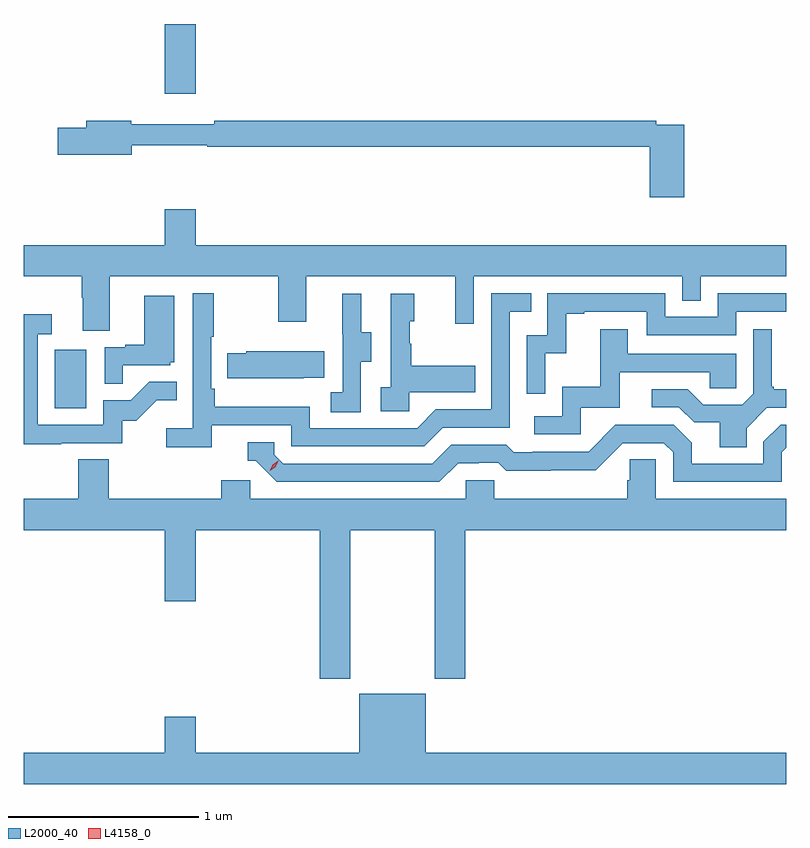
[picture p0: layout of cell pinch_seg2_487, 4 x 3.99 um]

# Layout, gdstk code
import gdstk
lib = gdstk.Library(unit=1e-6, precision=1e-09)
def R(c, l, rs):  # rectangles x0, y0, x1, y1
    for r in rs: c.add(gdstk.rectangle(r[:2], r[2:], *l))
def P(c, l, *ps):  # polygons
    for p in ps: c.add(gdstk.Polygon(p, *l))
L2000_40 = (2000, 40)
L4158_0 = (4158, 0)

pinch_seg2_487 = lib.new_cell('pinch_seg2_487')
R(pinch_seg2_487, L2000_40, [(967.628,597.66,967.792,597.967), (968.204,599.31,968.368,599.676)])
P(pinch_seg2_487, L2000_40, [(970.931,599.148),(970.784,599.148),(970.784,599.168),(968.464,599.168),(968.464,599.149),(968.028,599.149),(968.028,599.168),(967.793,599.168),(967.793,599.132),(967.644,599.132),(967.644,598.99),(968.032,598.99),(968.032,599.04),(968.428,599.04),(968.428,599.032),(970.748,599.032),(970.748,598.767),(970.931,598.767)],
  [(967.915,598.352),(968.8,598.352),(968.8,598.113),(968.947,598.113),(968.947,598.352),(969.728,598.352),(969.728,598.104),(969.825,598.104),(969.825,598.352),(970.92,598.352),(970.92,598.225),(971.016,598.225),(971.016,598.352),(971.465,598.352),(971.465,598.516),(968.368,598.516),(968.368,598.705),(968.204,598.705),(968.204,598.516),(967.465,598.516),(967.465,598.352),(967.768,598.352),(967.768,598.24),(967.775,598.24),(967.775,598.066),(967.915,598.066)],
  [(968.45,597.57),(968.868,597.57),(968.868,597.459),(969.565,597.459),(969.664,597.558),(970.014,597.558),(970.014,598.167),(970.127,598.167),(970.127,598.263),(969.918,598.263),(969.918,597.654),(969.627,597.654),(969.528,597.555),(968.964,597.555),(968.964,597.667),(968.468,597.667),(968.468,597.763),(968.448,597.763),(968.448,598.036),(968.461,598.036),(968.461,598.264),(968.352,598.264),(968.352,597.556),(968.211,597.556),(968.211,597.454),(968.45,597.454)],
  [(970.2,597.947),(970.31,597.947),(970.31,598.155),(970.405,598.155),(970.405,598.167),(970.734,598.167),(970.734,598.044),(971.202,598.044),(971.202,598.167),(971.465,598.167),(971.465,598.263),(971.106,598.263),(971.106,598.14),(970.83,598.14),(970.83,598.263),(970.212,598.263),(970.212,598.044),(970.104,598.044),(970.104,597.735),(970.2,597.735)],
  [(969.234,597.904),(969.289,597.904),(969.289,598.059),(969.235,598.059),(969.235,598.261),(969.137,598.261),(969.137,598.047),(969.138,598.047),(969.138,597.743),(969.075,597.743),(969.075,597.64),(969.234,597.64)],
  [(969.486,597.743),(969.833,597.743),(969.833,597.883),(969.499,597.883),(969.499,597.998),(969.489,597.998),(969.489,598.116),(969.514,598.116),(969.514,598.261),(969.39,598.261),(969.39,597.77),(969.339,597.77),(969.339,597.645),(969.486,597.645)],
  [(967.985,597.885),(968.232,597.885),(968.232,597.9),(968.254,597.9),(968.254,598.249),(968.096,598.249),(968.096,597.994),(967.997,597.994),(967.997,597.981),(967.89,597.981),(967.89,597.787),(967.985,597.787)],
  [(967.661,597.477),(967.98,597.477),(967.98,597.594),(968.056,597.594),(968.163,597.701),(968.267,597.701),(968.267,597.8),(968.123,597.8),(968.025,597.702),(967.881,597.702),(967.881,597.573),(967.539,597.573),(967.539,598.047),(967.612,598.047),(967.612,598.153),(967.465,598.153),(967.465,597.472),(967.661,597.472)],
  [(970.386,597.663),(970.591,597.663),(970.591,597.849),(971.065,597.849),(971.065,597.765),(971.202,597.765),(971.202,597.945),(970.633,597.945),(970.633,598.075),(970.489,598.075),(970.489,597.772),(970.29,597.772),(970.29,597.618),(970.143,597.618),(970.143,597.522),(970.386,597.522)],
  [(971.257,597.556),(971.364,597.663),(971.465,597.663),(971.465,597.76),(971.401,597.76),(971.401,597.772),(971.389,597.772),(971.389,598.075),(971.292,598.075),(971.292,597.735),(971.235,597.678),(971.029,597.678),(970.948,597.759),(970.761,597.759),(970.761,597.666),(970.902,597.666),(970.982,597.586),(971.117,597.586),(971.117,597.454),(971.257,597.454)],
  [(968.933,597.821),(969.041,597.821),(969.041,597.958),(968.631,597.958),(968.631,597.948),(968.533,597.948),(968.533,597.818),(968.933,597.818)],
  [(969.745,597.372),(969.852,597.372),(969.852,597.375),(969.955,597.375),(969.997,597.333),(970.23,597.333),(970.23,597.335),(970.466,597.335),(970.608,597.477),(970.824,597.477),(970.872,597.429),(970.872,597.273),(971.442,597.273),(971.442,597.429),(971.465,597.452),(971.465,597.573),(971.436,597.573),(971.346,597.483),(971.346,597.369),(970.969,597.369),(970.969,597.479),(970.875,597.573),(970.569,597.573),(970.428,597.432),(970.135,597.432),(970.135,597.429),(970.036,597.429),(969.997,597.468),(969.708,597.468),(969.609,597.369),(968.826,597.369),(968.778,597.417),(968.778,597.48),(968.639,597.48),(968.639,597.384),(968.682,597.384),(968.793,597.273),(969.646,597.273)],
  [(969.177,597.02),(969.622,597.02),(969.622,596.241),(969.782,596.241),(969.782,597.02),(971.465,597.02),(971.465,597.184),(970.782,597.184),(970.782,597.392),(970.645,597.392),(970.645,597.282),(970.631,597.282),(970.631,597.184),(969.933,597.184),(969.933,597.282),(969.783,597.282),(969.783,597.184),(968.652,597.184),(968.652,597.282),(968.501,597.282),(968.501,597.184),(967.91,597.184),(967.91,597.392),(967.75,597.392),(967.75,597.184),(967.465,597.184),(967.465,597.02),(968.204,597.02),(968.204,596.646),(968.368,596.646),(968.368,597.02),(969.017,597.02),(969.017,596.241),(969.177,596.241)],
  [(971.465,595.852),(969.574,595.852),(969.574,596.161),(969.224,596.161),(969.224,595.852),(968.368,595.852),(968.368,596.041),(968.204,596.041),(968.204,595.852),(967.465,595.852),(967.465,595.688),(971.465,595.688)])
P(pinch_seg2_487, L4158_0, [(968.754,597.331),(968.754,597.331),(968.77,597.364),(968.801,597.384),(968.801,597.384),(968.801,597.384),(968.785,597.351),(968.755,597.331)])

lib.write_gds('pinch_seg2_487.gds')
